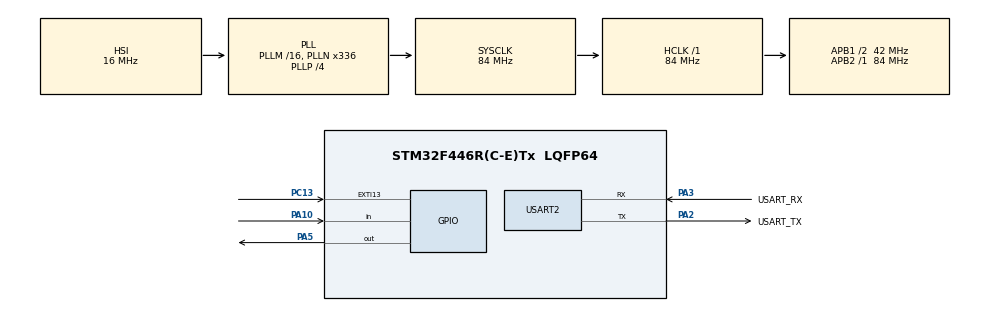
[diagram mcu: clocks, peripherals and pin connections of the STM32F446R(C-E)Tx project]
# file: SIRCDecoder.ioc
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Mcu.Family=STM32F4
Mcu.Name=STM32F446R(C-E)Tx
Mcu.Package=LQFP64
NUCLEO-F446RE.BUTTON=1
NUCLEO-F446RE.LD1=true
NVIC.EXTI15_10_IRQn=true\:0\:0\:false\:false\:true\:false\:true\:true
NVIC.PriorityGroup=NVIC_PRIORITYGROUP_0
PA10.Signal=GPIO_Input
PA13.GPIO_Label=TMS
PA13.Signal=SYS_JTMS-SWDIO
PA14.GPIO_Label=TCK
PA14.Signal=SYS_JTCK-SWCLK
PA2.GPIO_Label=USART_TX
PA2.Mode=Asynchronous
PA2.Signal=USART2_TX
PA3.GPIO_Label=USART_RX
PA3.Mode=Asynchronous
PA3.Signal=USART2_RX
PA5.Signal=GPIO_Output
PB3.GPIO_Label=SWO
PB3.Signal=SYS_JTDO-SWO
PC13.Signal=GPXTI13
PC14-OSC32_IN.Signal=RCC_OSC32_IN
PC15-OSC32_OUT.Signal=RCC_OSC32_OUT
PH0-OSC_IN.Signal=RCC_OSC_IN
PH1-OSC_OUT.Signal=RCC_OSC_OUT
ProjectManager.HeapSize=0x200
ProjectManager.StackSize=0x400
ProjectManager.TargetToolchain=STM32CubeIDE
RCC.AHBFreq_Value=84000000
RCC.APB1CLKDivider=RCC_HCLK_DIV2
RCC.APB1Freq_Value=42000000
RCC.APB1TimFreq_Value=84000000
RCC.APB2Freq_Value=84000000
RCC.APB2TimFreq_Value=84000000
RCC.CortexFreq_Value=84000000
RCC.FLatency-AdvancedSettings=FLASH_LATENCY_2
RCC.HCLKFreq_Value=84000000
RCC.HSE_VALUE=8000000
RCC.HSI_VALUE=16000000
RCC.LSE_VALUE=32768
RCC.PLLN=336
RCC.PLLP=RCC_PLLP_DIV4
RCC.SYSCLKFreq_VALUE=84000000
RCC.SYSCLKSource=RCC_SYSCLKSOURCE_PLLCLK
RCC.USBFreq_Value=168000000
RCC.VCOOutputFreq_Value=336000000
TIM2.Prescaler=83
USART2.VirtualMode=VM_ASYNC
VP_NUCLEO-F446RE_VS_BSP_COMMON.Mode=COMMON
VP_TIM2_VS_ClockSourceINT.Mode=Internal
board=NUCLEO-F446RE

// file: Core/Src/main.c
/* USER CODE BEGIN Header */
/**
  ******************************************************************************
  * @file           : main.c
  * @brief          : Main program body
  ******************************************************************************
  * @attention
  *
  * Copyright (c) 2026 STMicroelectronics.
  * All rights reserved.
  *
  * This software is licensed under terms that can be found in the LICENSE file
  * in the root directory of this software component.
  * If no LICENSE file comes with this software, it is provided AS-IS.
  *
  ******************************************************************************
  */
/* USER CODE END Header */
#include "main.h"

/* USER CODE BEGIN Includes */

#include <stdio.h>

/* USER CODE END Includes */

TIM_HandleTypeDef htim2;

UART_HandleTypeDef huart2;

/* USER CODE BEGIN PV */

uint32_t durations[100];
int count = 0;

/* USER CODE END PV */

void SystemClock_Config(void);
static void MX_GPIO_Init(void);
static void MX_TIM2_Init(void);
static void MX_USART2_UART_Init(void);

/* USER CODE BEGIN 0 */

int __io_putchar(int ch)
{
  HAL_UART_Transmit(&huart2, (uint8_t *)&ch, 1, HAL_MAX_DELAY);
  return ch;
}

/* USER CODE END 0 */

int main(void)
{

  /* MCU Configuration--------------------------------------------------------*/

  /* Reset of all peripherals, Initializes the Flash interface and the Systick. */
  HAL_Init();

  /* Configure the system clock */
  SystemClock_Config();

  /* Initialize all configured peripherals */
  MX_GPIO_Init();
  MX_TIM2_Init();
  MX_USART2_UART_Init();
  /* USER CODE BEGIN 2 */

  HAL_TIM_Base_Start(&htim2);

  /* USER CODE END 2 */

  /* Initialize leds */
  BSP_LED_Init(LED2);

  /* Initialize USER push-button, will be used to trigger an interrupt each time it's pressed.*/
  BSP_PB_Init(BUTTON_USER, BUTTON_MODE_EXTI);

  /* Infinite loop */
  while (1)
  {

    /* USER CODE BEGIN 3 */

	  // Ensure loop is not triggered in between bursts

	  uint32_t quietStart = __HAL_TIM_GET_COUNTER(&htim2);

	  while (__HAL_TIM_GET_COUNTER(&htim2) - quietStart < 10000) {

	        if (HAL_GPIO_ReadPin(GPIOA, GPIO_PIN_10) == GPIO_PIN_RESET) {
	            quietStart = __HAL_TIM_GET_COUNTER(&htim2);
	        }

	  }

	  // Wait for a code to start (if receiver is inputting 0)

	  while (HAL_GPIO_ReadPin(GPIOA, GPIO_PIN_10));

	  uint32_t lastTime = __HAL_TIM_GET_COUNTER(&htim2);
	  GPIO_PinState lastState = GPIO_PIN_RESET;
	  count = 0;

	  // Capturing durations (measuring distance between switches in pin states)

	  while(count < 100) {

		  GPIO_PinState nowState = 	HAL_GPIO_ReadPin(GPIOA, GPIO_PIN_10);
		  uint32_t nowTime = __HAL_TIM_GET_COUNTER(&htim2);

		  if (nowState != lastState) {

			  durations[count] = nowTime - lastTime;
			  count += 1;
			  lastState = nowState;
			  lastTime = nowTime;

		  }

		  if (nowState == GPIO_PIN_SET && (nowTime - lastTime) > 10000) {

			  break;

		  }

	  }

	  // Printing raw durations

	  for (int i = 0; i < count; i++) {

		  printf("%lu\r\n", durations[i]);

	  }

	  printf("--- %d durations ---\r\n", count);

	  // Decoding SIRC

	  uint32_t total = 0;
	  uint8_t extended = 0;
	  uint8_t device = 0;
	  uint8_t command = 0;

	  int bits = (count - 1)/2;

	  if ((bits == 12 || bits == 15 || bits == 20) && durations[0] > 2000 && durations[0] < 3000) {

		  for (int i = 0; i < bits; i++) {

			  if (durations[2+2*i] > 900){
				  total |= (1 << i);
//				  total = total | (1 << i); // equal
			  }

		  }

		  if (bits == 12 || bits == 15) {

			  device = total >> 7;
			  command = total & 0x7F;

			  printf("%d-bits: Device --- %d Command --- %d\r\n",bits, device, command);

		  } else if (bits == 20) {

		      extended = total >> 12;
		      device = (total >> 7) & 0x1F;
		      command = total & 0x7F;

		      printf("%d-bit: Extended --- %d Device --- %d Command --- %d\r\n",bits, extended, device, command);

		  }

	  }

  }
  /* USER CODE END 3 */
}

void SystemClock_Config(void)
{
  RCC_OscInitTypeDef RCC_OscInitStruct = {0};
  RCC_ClkInitTypeDef RCC_ClkInitStruct = {0};

  /** Configure the main internal regulator output voltage
  */
  __HAL_RCC_PWR_CLK_ENABLE();
  __HAL_PWR_VOLTAGESCALING_CONFIG(PWR_REGULATOR_VOLTAGE_SCALE3);

  /** Initializes the RCC Oscillators according to the specified parameters
  * in the RCC_OscInitTypeDef structure.
  */
  RCC_OscInitStruct.OscillatorType = RCC_OSCILLATORTYPE_HSI;
  RCC_OscInitStruct.HSIState = RCC_HSI_ON;
  RCC_OscInitStruct.HSICalibrationValue = RCC_HSICALIBRATION_DEFAULT;
  RCC_OscInitStruct.PLL.PLLState = RCC_PLL_ON;
  RCC_OscInitStruct.PLL.PLLSource = RCC_PLLSOURCE_HSI;
  RCC_OscInitStruct.PLL.PLLM = 16;
  RCC_OscInitStruct.PLL.PLLN = 336;
  RCC_OscInitStruct.PLL.PLLP = RCC_PLLP_DIV4;
  RCC_OscInitStruct.PLL.PLLQ = 2;
  RCC_OscInitStruct.PLL.PLLR = 2;
  if (HAL_RCC_OscConfig(&RCC_OscInitStruct) != HAL_OK)
  {
    Error_Handler();
  }

  /** Initializes the CPU, AHB and APB buses clocks
  */
  RCC_ClkInitStruct.ClockType = RCC_CLOCKTYPE_HCLK|RCC_CLOCKTYPE_SYSCLK
                              |RCC_CLOCKTYPE_PCLK1|RCC_CLOCKTYPE_PCLK2;
  RCC_ClkInitStruct.SYSCLKSource = RCC_SYSCLKSOURCE_PLLCLK;
  RCC_ClkInitStruct.AHBCLKDivider = RCC_SYSCLK_DIV1;
  RCC_ClkInitStruct.APB1CLKDivider = RCC_HCLK_DIV2;
  RCC_ClkInitStruct.APB2CLKDivider = RCC_HCLK_DIV1;

  if (HAL_RCC_ClockConfig(&RCC_ClkInitStruct, FLASH_LATENCY_2) != HAL_OK)
  {
    Error_Handler();
  }
}

static void MX_TIM2_Init(void)
{

  TIM_ClockConfigTypeDef sClockSourceConfig = {0};
  TIM_MasterConfigTypeDef sMasterConfig = {0};

  htim2.Instance = TIM2;
  htim2.Init.Prescaler = 83;
  htim2.Init.CounterMode = TIM_COUNTERMODE_UP;
  htim2.Init.Period = 4294967295;
  htim2.Init.ClockDivision = TIM_CLOCKDIVISION_DIV1;
  htim2.Init.AutoReloadPreload = TIM_AUTORELOAD_PRELOAD_DISABLE;
  if (HAL_TIM_Base_Init(&htim2) != HAL_OK)
  {
    Error_Handler();
  }
  sClockSourceConfig.ClockSource = TIM_CLOCKSOURCE_INTERNAL;
  if (HAL_TIM_ConfigClockSource(&htim2, &sClockSourceConfig) != HAL_OK)
  {
    Error_Handler();
  }
  sMasterConfig.MasterOutputTrigger = TIM_TRGO_RESET;
  sMasterConfig.MasterSlaveMode = TIM_MASTERSLAVEMODE_DISABLE;
  if (HAL_TIMEx_MasterConfigSynchronization(&htim2, &sMasterConfig) != HAL_OK)
  {
    Error_Handler();
  }

}

static void MX_USART2_UART_Init(void)
{

  huart2.Instance = USART2;
  huart2.Init.BaudRate = 115200;
  huart2.Init.WordLength = UART_WORDLENGTH_8B;
  huart2.Init.StopBits = UART_STOPBITS_1;
  huart2.Init.Parity = UART_PARITY_NONE;
  huart2.Init.Mode = UART_MODE_TX_RX;
  huart2.Init.HwFlowCtl = UART_HWCONTROL_NONE;
  huart2.Init.OverSampling = UART_OVERSAMPLING_16;
  if (HAL_UART_Init(&huart2) != HAL_OK)
  {
    Error_Handler();
  }

}

static void MX_GPIO_Init(void)
{
  GPIO_InitTypeDef GPIO_InitStruct = {0};

  /* GPIO Ports Clock Enable */
  __HAL_RCC_GPIOC_CLK_ENABLE();
  __HAL_RCC_GPIOH_CLK_ENABLE();
  __HAL_RCC_GPIOA_CLK_ENABLE();
  __HAL_RCC_GPIOB_CLK_ENABLE();

  /*Configure GPIO pin : PA10 */
  GPIO_InitStruct.Pin = GPIO_PIN_10;
  GPIO_InitStruct.Mode = GPIO_MODE_INPUT;
  GPIO_InitStruct.Pull = GPIO_NOPULL;
  HAL_GPIO_Init(GPIOA, &GPIO_InitStruct);

}

void Error_Handler(void)
{
  __disable_irq();
  while (1)
  {
  }
}
